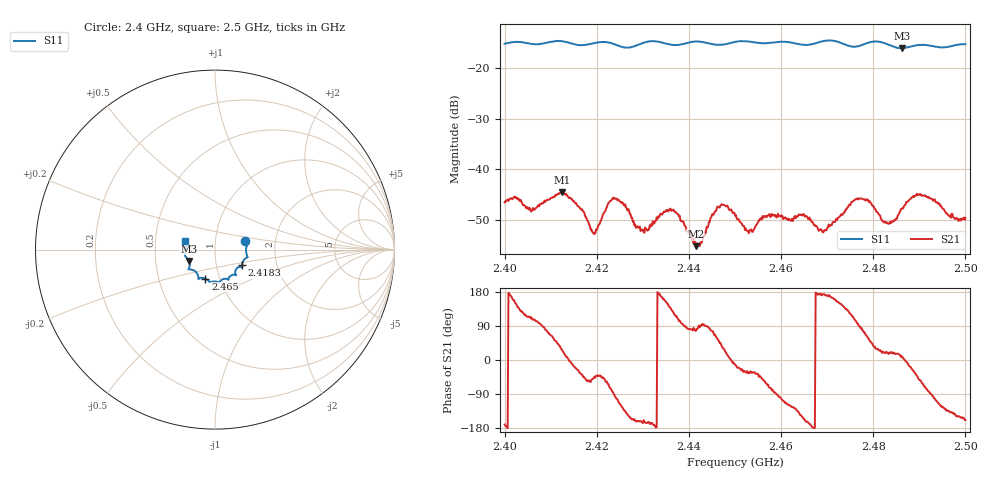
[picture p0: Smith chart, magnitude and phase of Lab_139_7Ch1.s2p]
# Hz S RI R 50
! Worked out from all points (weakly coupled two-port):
!   601 points, 2.4 GHz to 2.5 GHz, reference 50 ohm
!   highest |S21| = -44.50 dB at 2.4125 GHz (marker M1); lowest = -55.2 dB at 2.4415 GHz (marker M2)
!   lowest |S11| = -16.0 dB at 2.4862 GHz (marker M3), VSWR 1.38, Z = 37.1 - j4.81 ohm
!   |S11| at or under -10 dB: start of sweep to end of sweep
!   S12 and S22 are empty: the file has one direction only
!   S11 on the Smith chart (normalised r, x): 2.4 GHz: 1.40, +0.13; 2.4183 GHz: 1.33, -0.24; 2.465 GHz: 0.86, -0.29; 2.5 GHz: 0.71, +0.07
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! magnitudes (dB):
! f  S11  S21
! 2.4 GHz  -15.1  -46.5
! 2.4062 GHz  -15.2  -47.6
! 2.4125 GHz  -14.6  -44.5
! 2.4167 GHz  -15.4  -47.9
! 2.4183 GHz  -15.2  -50.9
! 2.4197 GHz  -15.0  -52.7
! 2.4238 GHz  -15.2  -45.7
! 2.4298 GHz  -15.1  -52.1
! 2.4333 GHz  -14.7  -49.3
! 2.437 GHz  -15.4  -48.4
! 2.4415 GHz  -14.7  -55.2
! 2.4467 GHz  -15.4  -47.5
! 2.45 GHz  -14.8  -49.1
! 2.4533 GHz  -14.7  -52.0
! 2.465 GHz  -15.4  -49.0
! 2.4667 GHz  -15.2  -50.4
! 2.4693 GHz  -14.6  -52.1
! 2.4772 GHz  -15.5  -45.7
! 2.4833 GHz  -15.3  -50.8
! 2.4862 GHz  -16.0  -47.8
! 2.49 GHz  -15.4  -44.9
! 2.5 GHz  -15.2  -49.6
